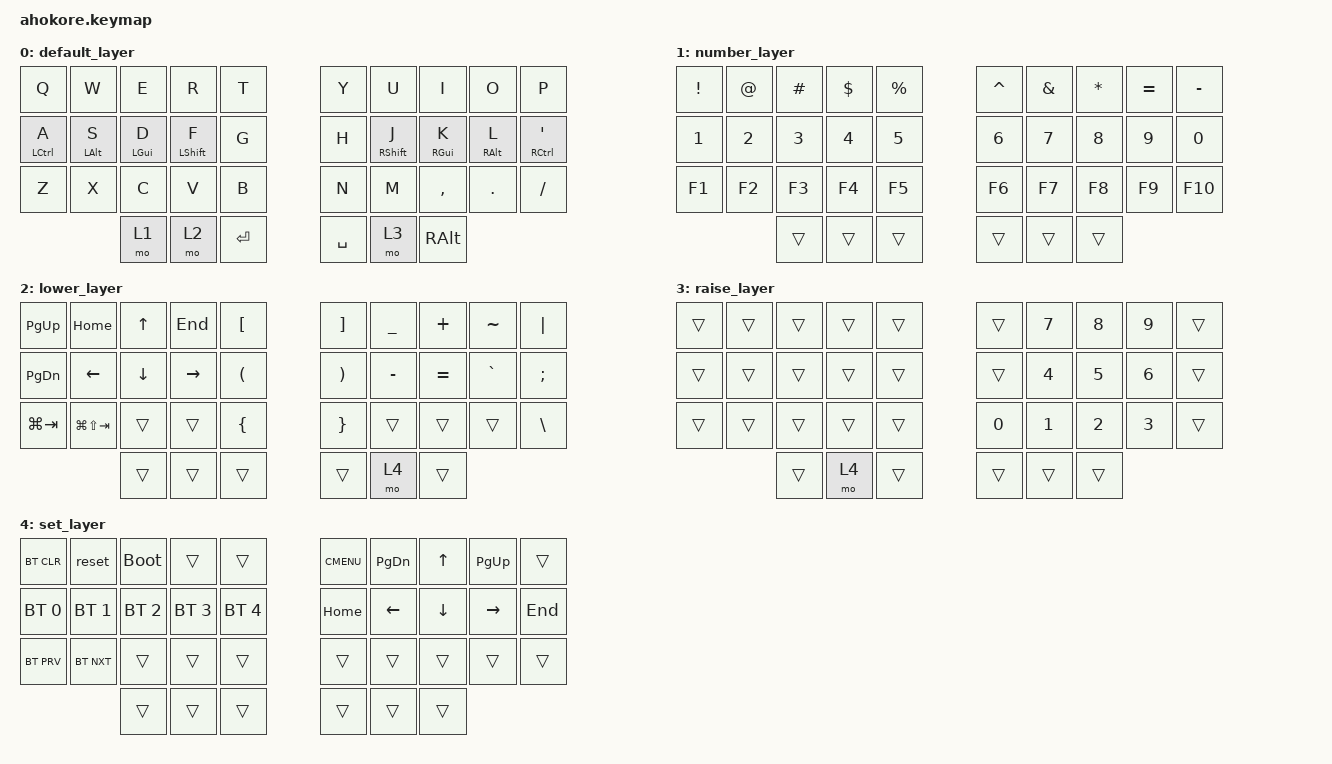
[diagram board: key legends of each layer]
/*
 * Copyright (c) 2020 The ZMK Contributors
 *
 * SPDX-License-Identifier: MIT
 */

#include <behaviors.dtsi>
#include <dt-bindings/zmk/keys.h>
#include <dt-bindings/zmk/bt.h>

/ {

behaviors {
      hm: homerow_mods {
        compatible = "zmk,behavior-hold-tap";
        label = "HOMEROW_MODS";
        #binding-cells = <2>;
        tapping_term_ms = <300>;
        flavor = "tap-preferred";
        bindings = <&kp>, <&kp>;
    };

    combos {
    compatible = "zmk,combos";
    combo_del {
        timeout-ms = <50>;
        key-positions = <18 19>;
        bindings = <&kp DEL>;
        layers = <0 1 2>;
    };
    combo_bspc {
        timeout-ms = <50>;
        key-positions = <8 9>;
        bindings = <&kp BKSP>;
        layers = <0 1 2>;
    };
    combo_tab {
        timeout-ms = <50>;
        key-positions = <10 11>;
        bindings = <&kp TAB>;
        layers = <0>;
    };
    combo_esc {
        timeout-ms = <50>;
        key-positions = <0 1>;
        bindings = <&kp ESC>;
        layers = <0 1 2>;
    };
    combo_pass {
        timeout-ms = <50>;
        key-positions = <10 11>;
        bindings = <&kp LG(BSLH)>;
        layers = <2>;
    };
};

};
        keymap {
                compatible = "zmk,keymap";

                default_layer {
// -----------------------------------------------------------------------------------------
// |  Q  |  W  |  E  |  R  |  T   |  Y  |  U   |  I  |  O  |  P  |
// |  A  |  S  |  D  |  F  |  G   |  H  |  J   |  K  |  L  |  '  |
// |  Z  |  X  |  C  |  V  |  B   |  N  |  M   |  ,  |  .  |  /  |
//             | NUM | LOW |  ENT | SPC | RAI  | ALT |
                        bindings = <
   &kp Q &kp W &kp E &kp R &kp T   &kp Y &kp U  &kp I     &kp O   &kp P
   &hm LCTRL A &hm LALT S &hm LGUI D &hm LSHFT F &kp G   &kp H &hm RSHFT J  &hm RGUI K  &hm RALT L  &hm RCTRL APOS
   &kp Z &kp X &kp C &kp V &kp B   &kp N &kp M  &kp COMMA &kp DOT &kp FSLH
   &mo 1 &mo 2 &kp RET &kp SPC &mo 3 &kp RALT
                        >;
                };

                number_layer {
// -----------------------------------------------------------------------------------------
// |  !  |  @  |  #  |  $  |  %  |  ^  |  &  |  *  |  =  |  -  |
// |  1  |  2  |  3  |  4  |  5  |  6  |  7  |  8  |  9  |  0  |
// |  F1 |  F2 |  F3 |  F4 |  F5 |  F6 |  F7 |  F8 |  F9 | F10 |
//             | NUM | LOW |  ENT | SPC | RAI  | ALT |
                        bindings = <
   &kp EXCL  &kp AT    &kp HASH  &kp DOLLAR  &kp PRCNT   &kp CARET &kp AMPS  &kp STAR  &kp EQUAL  &kp MINUS
   &kp N1    &kp N2    &kp N3    &kp N4      &kp N5      &kp N6    &kp N7    &kp N8    &kp N9     &kp N0
   &kp F1    &kp F2    &kp F3    &kp F4      &kp F5      &kp F6    &kp F7    &kp F8    &kp F9     &kp F10
   &trans    &trans    &trans    &trans      &trans      &trans
                        >;
                };
              
              lower_layer {
                        bindings = <
   &kp PG_UP  &kp HOME    &kp UP   &kp END    &kp LBKT   &kp RBKT &kp UNDER  &kp PLUS  &kp TILDE  &kp PIPE
   &kp PG_DN  &kp LEFT    &kp DOWN &kp RIGHT  &kp LPAR   &kp RPAR &kp MINUS  &kp EQUAL &kp GRAVE  &kp SEMI
   &kp LG(TAB) &kp LG(LS(TAB)) &trans   &trans     &kp LBRC   &kp RBRC &trans     &trans    &trans     &kp BSLH
   &trans   &trans    &trans     &trans   &mo 4   &trans
                        >;
                };
                
              raise_layer {
                        bindings = <
   &trans   &trans    &trans     &trans   &trans   &trans      &kp N7      &kp N8      &kp N9      &trans
   &trans   &trans    &trans     &trans   &trans   &trans      &kp N4      &kp N5      &kp N6      &trans
   &trans   &trans    &trans     &trans   &trans   &kp N0      &kp N1      &kp N2      &kp N3      &trans
   &trans   &mo 4   &trans     &trans   &trans   &trans
                        >;
                };
                
                set_layer {
// -----------------------------------------------------------------------------------------
// |BTCLR| RST |     |      |     |      | PGDN |  UP  | PGUP |      |
// | BT0 |CMENU|     |      |     | HOME | LEFT | DOWN |RIGHT | END  |
// | BT1 | BOOT|     |      |     |      |      |      |      |      |
//             | CTL | ALT |  ENT | SPC | GUI  | CTL |
                        bindings = <
   &bt BT_CLR   &reset  &bootloader &trans &trans     &kp K_CMENU &kp PG_DN &kp UP    &kp PG_UP &trans
   &bt BT_SEL 0 &bt BT_SEL 1 &bt BT_SEL 2 &bt BT_SEL 3 &bt BT_SEL 4   &kp HOME  &kp LEFT  &kp DOWN  &kp RIGHT &kp END
   &bt BT_PRV &bt BT_NXT &trans  &trans &trans     &trans    &trans    &trans    &trans    &trans
   &trans   &trans    &trans     &trans   &trans   &trans
                        >;
                };


        };
};
